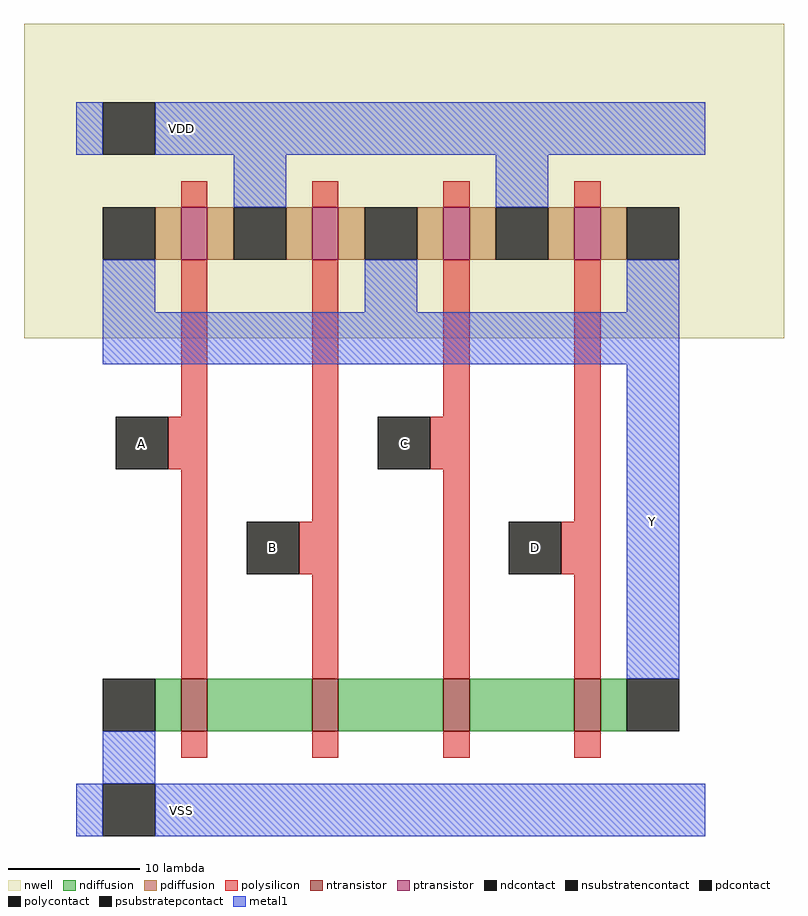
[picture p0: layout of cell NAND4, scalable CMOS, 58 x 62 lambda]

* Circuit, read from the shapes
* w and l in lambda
.subckt NAND4 A B C D VDD VSS Y
M1 n1 A VSS VSS nfet w=4 l=2
M2 n2 B n1 VSS nfet w=4 l=2
M3 n3 C n2 VSS nfet w=4 l=2
M4 Y D n3 VSS nfet w=4 l=2
M5 VDD A Y VDD pfet w=4 l=2
M6 Y B VDD VDD pfet w=4 l=2
M7 VDD C Y VDD pfet w=4 l=2
M8 Y D VDD VDD pfet w=4 l=2
.ends

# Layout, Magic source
magic
tech scmos
<< nwell >>
rect -4 38 54 62
<< ntransistor >>
rect 8 8 10 12
rect 18 8 20 12
rect 28 8 30 12
rect 38 8 40 12
<< ptransistor >>
rect 8 44 10 48
rect 18 44 20 48
rect 28 44 30 48
rect 38 44 40 48
<< ndiffusion >>
rect 6 8 8 12
rect 10 8 18 12
rect 20 8 28 12
rect 30 8 38 12
rect 40 8 42 12
<< pdiffusion >>
rect 6 44 8 48
rect 10 44 12 48
rect 16 44 18 48
rect 20 44 22 48
rect 26 44 28 48
rect 30 44 32 48
rect 36 44 38 48
rect 40 44 42 48
<< ndcontact >>
rect 2 8 6 12
rect 42 8 46 12
<< pdcontact >>
rect 2 44 6 48
rect 12 44 16 48
rect 22 44 26 48
rect 32 44 36 48
rect 42 44 46 48
<< psubstratepcontact >>
rect 2 0 6 4
<< nsubstratencontact >>
rect 2 52 6 56
<< polysilicon >>
rect 8 48 10 50
rect 18 48 20 50
rect 28 48 30 50
rect 38 48 40 50
rect 8 32 10 44
rect 7 28 10 32
rect 8 12 10 28
rect 18 24 20 44
rect 28 32 30 44
rect 27 28 30 32
rect 17 20 20 24
rect 18 12 20 20
rect 28 12 30 28
rect 38 24 40 44
rect 37 20 40 24
rect 38 12 40 20
rect 8 6 10 8
rect 18 6 20 8
rect 28 6 30 8
rect 38 6 40 8
<< polycontact >>
rect 3 28 7 32
rect 23 28 27 32
rect 13 20 17 24
rect 33 20 37 24
<< metal1 >>
rect 0 52 2 56
rect 6 52 48 56
rect 12 48 16 52
rect 32 48 36 52
rect 2 40 6 44
rect 22 40 26 44
rect 42 40 46 44
rect 2 36 46 40
rect 42 12 46 36
rect 2 4 6 8
rect 0 0 2 4
rect 6 0 48 4
<< labels >>
rlabel polycontact 5 30 5 30 1 A
rlabel polycontact 15 22 15 22 1 B
rlabel polycontact 25 30 25 30 1 C
rlabel polycontact 35 22 35 22 1 D
rlabel metal1 8 2 8 2 1 VSS
rlabel metal1 8 54 8 54 1 VDD
rlabel metal1 44 24 44 24 1 Y
<< end >>
